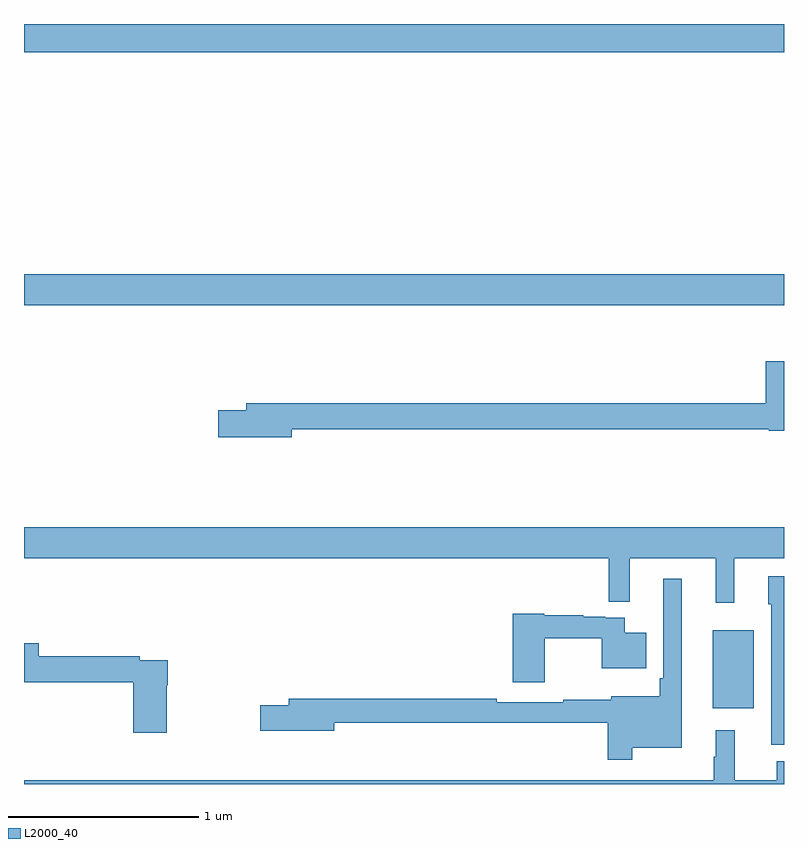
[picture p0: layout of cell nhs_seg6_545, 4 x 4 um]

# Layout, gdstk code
import gdstk
lib = gdstk.Library(unit=1e-6, precision=1e-09)
def R(c, l, rs):  # rectangles x0, y0, x1, y1
    for r in rs: c.add(gdstk.rectangle(r[:2], r[2:], *l))
def P(c, l, *ps):  # polygons
    for p in ps: c.add(gdstk.Polygon(p, *l))
L2000_40 = (2000, 40)

nhs_seg6_545 = lib.new_cell('nhs_seg6_545')
R(nhs_seg6_545, L2000_40, [(148.625,927.899,148.84,928.309), (145,930.02,149,930.184), (145,931.352,149,931.5)])
P(nhs_seg6_545, L2000_40, [(146.41,929.368),(148.92,929.368),(148.92,929.36),(149,929.36),(149,929.724),(148.904,929.724),(148.904,929.504),(146.171,929.504),(146.171,929.468),(146.022,929.468),(146.022,929.326),(146.41,929.326)],
  [(148.738,928.688),(149,928.688),(149,928.852),(145,928.852),(145,928.688),(148.078,928.688),(148.078,928.459),(148.187,928.459),(148.187,928.688),(148.64,928.688),(148.64,928.455),(148.738,928.455)],
  [(149,928.594),(148.916,928.594),(148.916,928.446),(148.934,928.446),(148.934,927.707),(149,927.707)],
  [(148.201,927.692),(148.462,927.692),(148.462,928.579),(148.365,928.579),(148.365,928.057),(148.345,928.057),(148.345,927.961),(148.091,927.961),(148.091,927.943),(147.838,927.943),(147.838,927.93),(147.488,927.93),(147.488,927.95),(146.393,927.95),(146.393,927.914),(146.244,927.914),(146.244,927.779),(146.632,927.779),(146.632,927.822),(148.072,927.822),(148.072,927.627),(148.201,927.627)],
  [(147.742,928.266),(148.04,928.266),(148.04,928.109),(148.276,928.109),(148.276,928.297),(148.162,928.297),(148.162,928.374),(148.058,928.374),(148.058,928.38),(147.944,928.38),(147.944,928.387),(147.738,928.387),(147.738,928.395),(147.572,928.395),(147.572,928.035),(147.742,928.035)],
  [(145.752,928.019),(145.757,928.019),(145.757,928.152),(145.61,928.152),(145.61,928.172),(145.078,928.172),(145.078,928.24),(145,928.24),(145,928.036),(145.574,928.036),(145.574,927.771),(145.752,927.771)],
  [(149,927.619),(148.961,927.619),(148.961,927.52),(148.74,927.52),(148.74,927.784),(148.64,927.784),(148.64,927.644),(148.629,927.644),(148.629,927.52),(145,927.52),(145,927.5),(149,927.5)])

lib.write_gds('nhs_seg6_545.gds')
